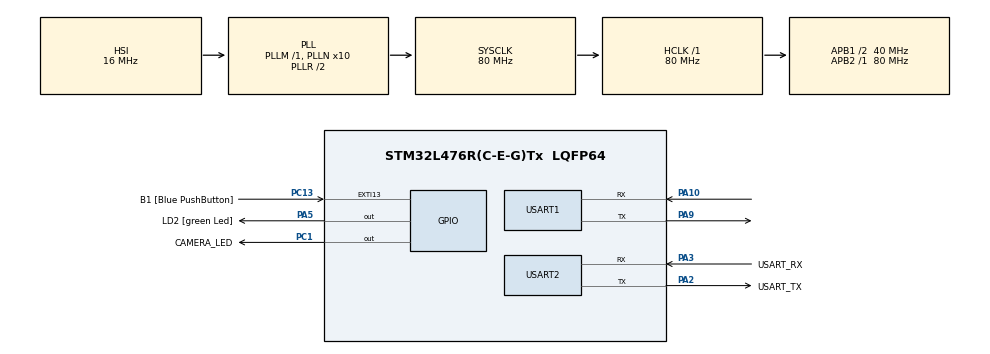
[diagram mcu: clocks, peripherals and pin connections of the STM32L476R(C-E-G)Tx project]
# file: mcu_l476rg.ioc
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Dma.Request0=USART1_RX
Dma.Request1=USART1_TX
Dma.Request2=USART2_RX
Dma.Request3=USART2_TX
Dma.USART1_RX.0.Direction=DMA_PERIPH_TO_MEMORY
Dma.USART1_RX.0.Instance=DMA2_Channel7
Dma.USART1_RX.0.MemDataAlignment=DMA_MDATAALIGN_BYTE
Dma.USART1_RX.0.MemInc=DMA_MINC_ENABLE
Dma.USART1_RX.0.Mode=DMA_NORMAL
Dma.USART1_RX.0.PeriphDataAlignment=DMA_PDATAALIGN_BYTE
Dma.USART1_RX.0.PeriphInc=DMA_PINC_DISABLE
Dma.USART1_RX.0.Priority=DMA_PRIORITY_LOW
Dma.USART1_TX.1.Direction=DMA_MEMORY_TO_PERIPH
Dma.USART1_TX.1.Instance=DMA2_Channel6
Dma.USART1_TX.1.MemDataAlignment=DMA_MDATAALIGN_BYTE
Dma.USART1_TX.1.MemInc=DMA_MINC_ENABLE
Dma.USART1_TX.1.Mode=DMA_NORMAL
Dma.USART1_TX.1.PeriphDataAlignment=DMA_PDATAALIGN_BYTE
Dma.USART1_TX.1.PeriphInc=DMA_PINC_DISABLE
Dma.USART1_TX.1.Priority=DMA_PRIORITY_LOW
Dma.USART2_RX.2.Direction=DMA_PERIPH_TO_MEMORY
Dma.USART2_RX.2.Instance=DMA1_Channel6
Dma.USART2_RX.2.MemDataAlignment=DMA_MDATAALIGN_BYTE
Dma.USART2_RX.2.MemInc=DMA_MINC_ENABLE
Dma.USART2_RX.2.Mode=DMA_CIRCULAR
Dma.USART2_RX.2.PeriphDataAlignment=DMA_PDATAALIGN_BYTE
Dma.USART2_RX.2.PeriphInc=DMA_PINC_DISABLE
Dma.USART2_RX.2.Priority=DMA_PRIORITY_LOW
Dma.USART2_TX.3.Direction=DMA_MEMORY_TO_PERIPH
Dma.USART2_TX.3.Instance=DMA1_Channel7
Dma.USART2_TX.3.MemDataAlignment=DMA_MDATAALIGN_BYTE
Dma.USART2_TX.3.MemInc=DMA_MINC_ENABLE
Dma.USART2_TX.3.Mode=DMA_NORMAL
Dma.USART2_TX.3.PeriphDataAlignment=DMA_PDATAALIGN_BYTE
Dma.USART2_TX.3.PeriphInc=DMA_PINC_DISABLE
Dma.USART2_TX.3.Priority=DMA_PRIORITY_LOW
FREERTOS.BinarySemaphores01=TxSem,Static,TxSemControlBlock;RxSem,Static,RxSemControlBlock
FREERTOS.INCLUDE_vTaskDelayUntil=1
FREERTOS.MEMORY_ALLOCATION=1
FREERTOS.Mutexes01=TableLock,Static,TableLockControlBlock
FREERTOS.Tasks01=Tx,2,128,StartTxTask,Default,NULL,Static,TxTaskBuffer,TxTaskControlBlock;Rx,3,128,StartRxTask,Default,NULL,Static,RxTaskBuffer,RxTaskControlBlock;Control,0,512,StartControlTask,Default,NULL,Static,ControlTaskBuffer,ControlTaskControlBlock
FREERTOS.Timers01=StatusLEDTmr,StatusLEDTmrCallback,osTimerPeriodic,Default,NULL,Static,StatusLEDTmrControlBlock;CameraLEDTmr,CameraLEDTmrCallback,osTimerOnce,Default,NULL,Static,CameraLEDTmrControlBlock
FREERTOS.configENABLE_FPU=1
FREERTOS.configTIMER_TASK_PRIORITY=5
FREERTOS.configUSE_TIMERS=1
Mcu.Family=STM32L4
Mcu.Name=STM32L476R(C-E-G)Tx
Mcu.Package=LQFP64
Mcu.UserConstants=TX_PERIOD_MS,10;CONTROL_CYCLE_MS,10
NVIC.DMA1_Channel6_IRQn=true\:5\:0\:false\:false\:true\:true\:false\:true
NVIC.DMA1_Channel7_IRQn=true\:5\:0\:false\:false\:true\:true\:false\:true
NVIC.DMA2_Channel6_IRQn=true\:0\:0\:false\:false\:true\:false\:false\:true
NVIC.DMA2_Channel7_IRQn=true\:0\:0\:false\:false\:true\:false\:false\:true
NVIC.EXTI15_10_IRQn=true\:5\:0\:false\:false\:true\:true\:true\:true
NVIC.PriorityGroup=NVIC_PRIORITYGROUP_4
NVIC.TIM1_UP_TIM16_IRQn=true\:0\:0\:false\:false\:true\:false\:false\:true
NVIC.TimeBase=TIM1_UP_TIM16_IRQn
NVIC.TimeBaseIP=TIM1
NVIC.USART1_IRQn=true\:5\:0\:false\:false\:true\:true\:true\:true
NVIC.USART2_IRQn=true\:5\:0\:false\:false\:true\:true\:true\:true
NVIC.WWDG_IRQn=true\:5\:0\:false\:false\:true\:true\:true\:true
PA10.Mode=Asynchronous
PA10.Signal=USART1_RX
PA13\ (JTMS-SWDIO).GPIO_Label=TMS
PA13\ (JTMS-SWDIO).Mode=Serial_Wire
PA13\ (JTMS-SWDIO).Signal=SYS_JTMS-SWDIO
PA14\ (JTCK-SWCLK).GPIO_Label=TCK
PA14\ (JTCK-SWCLK).Mode=Serial_Wire
PA14\ (JTCK-SWCLK).Signal=SYS_JTCK-SWCLK
PA2.GPIO_Label=USART_TX
PA2.GPIO_Mode=GPIO_MODE_AF_PP
PA2.GPIO_PuPd=GPIO_NOPULL
PA2.GPIO_Speed=GPIO_SPEED_FREQ_VERY_HIGH
PA2.Mode=Asynchronous
PA2.Signal=USART2_TX
PA3.GPIO_Label=USART_RX
PA3.GPIO_Mode=GPIO_MODE_AF_PP
PA3.GPIO_PuPd=GPIO_NOPULL
PA3.GPIO_Speed=GPIO_SPEED_FREQ_VERY_HIGH
PA3.Mode=Asynchronous
PA3.Signal=USART2_RX
PA5.GPIO_Label=LD2 [green Led]
PA5.GPIO_ModeDefaultOutputPP=GPIO_MODE_OUTPUT_PP
PA5.GPIO_PuPd=GPIO_NOPULL
PA5.GPIO_Speed=GPIO_SPEED_FREQ_LOW
PA5.Signal=GPIO_Output
PA9.Mode=Asynchronous
PA9.Signal=USART1_TX
PB3\ (JTDO-TRACESWO).GPIO_Label=SWO
PB3\ (JTDO-TRACESWO).Signal=SYS_JTDO-SWO
PC1.GPIO_Label=CAMERA_LED
PC1.Signal=GPIO_Output
PC13.GPIO_Label=B1 [Blue PushButton]
PC13.GPIO_ModeDefaultEXTI=GPIO_MODE_IT_FALLING
PC13.GPIO_PuPd=GPIO_NOPULL
PC13.Signal=GPXTI13
PC14-OSC32_IN\ (PC14).Mode=LSE-External-Oscillator
PC14-OSC32_IN\ (PC14).Signal=RCC_OSC32_IN
PC15-OSC32_OUT\ (PC15).Mode=LSE-External-Oscillator
PC15-OSC32_OUT\ (PC15).Signal=RCC_OSC32_OUT
PH0-OSC_IN\ (PH0).Mode=HSE-External-Oscillator
PH0-OSC_IN\ (PH0).Signal=RCC_OSC_IN
PH1-OSC_OUT\ (PH1).Mode=HSE-External-Oscillator
PH1-OSC_OUT\ (PH1).Signal=RCC_OSC_OUT
ProjectManager.HeapSize=0x200
ProjectManager.StackSize=0x400
ProjectManager.TargetToolchain=SW4STM32
RCC.ADCFreq_Value=64000000
RCC.AHBFreq_Value=80000000
RCC.APB1CLKDivider=RCC_HCLK_DIV2
RCC.APB1Freq_Value=40000000
RCC.APB1TimFreq_Value=80000000
RCC.APB2Freq_Value=80000000
RCC.APB2TimFreq_Value=80000000
RCC.CortexFreq_Value=80000000
RCC.HCLKFreq_Value=80000000
RCC.HSE_VALUE=8000000
RCC.HSI_VALUE=16000000
RCC.MSI_VALUE=4000000
RCC.PLLN=10
RCC.PLLSourceVirtual=RCC_PLLSOURCE_HSI
RCC.PREFETCH_ENABLE=1
RCC.SYSCLKFreq_VALUE=80000000
RCC.SYSCLKSource=RCC_SYSCLKSOURCE_PLLCLK
RCC.USBFreq_Value=64000000
RCC.VCOOutputFreq_Value=160000000
USART1.VirtualMode-Asynchronous=VM_ASYNC
USART2.VirtualMode-Asynchronous=VM_ASYNC
VP_FREERTOS_VS_CMSIS_V1.Mode=CMSIS_V1
VP_SYS_VS_tim1.Mode=TIM1
VP_WWDG_VS_WWDG.Mode=WWDG_Activate
WWDG.Counter=96
WWDG.EWIMode=WWDG_EWI_DISABLE
WWDG.Prescaler=WWDG_PRESCALER_4
WWDG.Window=96
board=NUCLEO-L476RG

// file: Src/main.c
/* USER CODE BEGIN Header */
/**
  ******************************************************************************
  * @file           : main.c
  * @brief          : Main program body
  ******************************************************************************
  * @attention
  *
  * <h2><center>&copy; Copyright (c) 2022 STMicroelectronics.
  * All rights reserved.</center></h2>
  *
  * This software component is licensed by ST under Ultimate Liberty license
  * SLA0044, the "License"; You may not use this file except in compliance with
  * the License. You may obtain a copy of the License at:
  *                             www.st.com/SLA0044
  *
  ******************************************************************************
  */
/* USER CODE END Header */

#include "main.h"
#include "cmsis_os.h"
#include "dma.h"
#include "usart.h"
#include "wwdg.h"
#include "gpio.h"

void SystemClock_Config(void);
void MX_FREERTOS_Init(void);

int main(void)
{

  /* MCU Configuration--------------------------------------------------------*/

  /* Reset of all peripherals, Initializes the Flash interface and the Systick. */
  HAL_Init();

  /* Configure the system clock */
  SystemClock_Config();

  /* Initialize all configured peripherals */
  MX_GPIO_Init();
  MX_DMA_Init();
  MX_USART1_UART_Init();
  MX_USART2_UART_Init();

  /* Call init function for freertos objects (in freertos.c) */
  MX_FREERTOS_Init();

  /* Start scheduler */
  osKernelStart();

  /* We should never get here as control is now taken by the scheduler */

  /* Infinite loop */
  while (1)
  {

  }
}

void SystemClock_Config(void)
{
  RCC_OscInitTypeDef RCC_OscInitStruct = {0};
  RCC_ClkInitTypeDef RCC_ClkInitStruct = {0};
  RCC_PeriphCLKInitTypeDef PeriphClkInit = {0};

  /** Initializes the CPU, AHB and APB busses clocks
  */
  RCC_OscInitStruct.OscillatorType = RCC_OSCILLATORTYPE_HSI;
  RCC_OscInitStruct.HSIState = RCC_HSI_ON;
  RCC_OscInitStruct.HSICalibrationValue = RCC_HSICALIBRATION_DEFAULT;
  RCC_OscInitStruct.PLL.PLLState = RCC_PLL_ON;
  RCC_OscInitStruct.PLL.PLLSource = RCC_PLLSOURCE_HSI;
  RCC_OscInitStruct.PLL.PLLM = 1;
  RCC_OscInitStruct.PLL.PLLN = 10;
  RCC_OscInitStruct.PLL.PLLP = RCC_PLLP_DIV7;
  RCC_OscInitStruct.PLL.PLLQ = RCC_PLLQ_DIV2;
  RCC_OscInitStruct.PLL.PLLR = RCC_PLLR_DIV2;
  if (HAL_RCC_OscConfig(&RCC_OscInitStruct) != HAL_OK)
  {
    Error_Handler();
  }
  /** Initializes the CPU, AHB and APB busses clocks
  */
  RCC_ClkInitStruct.ClockType = RCC_CLOCKTYPE_HCLK|RCC_CLOCKTYPE_SYSCLK
                              |RCC_CLOCKTYPE_PCLK1|RCC_CLOCKTYPE_PCLK2;
  RCC_ClkInitStruct.SYSCLKSource = RCC_SYSCLKSOURCE_PLLCLK;
  RCC_ClkInitStruct.AHBCLKDivider = RCC_SYSCLK_DIV1;
  RCC_ClkInitStruct.APB1CLKDivider = RCC_HCLK_DIV2;
  RCC_ClkInitStruct.APB2CLKDivider = RCC_HCLK_DIV1;

  if (HAL_RCC_ClockConfig(&RCC_ClkInitStruct, FLASH_LATENCY_4) != HAL_OK)
  {
    Error_Handler();
  }
  PeriphClkInit.PeriphClockSelection = RCC_PERIPHCLK_USART1|RCC_PERIPHCLK_USART2;
  PeriphClkInit.Usart1ClockSelection = RCC_USART1CLKSOURCE_PCLK2;
  PeriphClkInit.Usart2ClockSelection = RCC_USART2CLKSOURCE_PCLK1;
  if (HAL_RCCEx_PeriphCLKConfig(&PeriphClkInit) != HAL_OK)
  {
    Error_Handler();
  }
  /** Configure the main internal regulator output voltage
  */
  if (HAL_PWREx_ControlVoltageScaling(PWR_REGULATOR_VOLTAGE_SCALE1) != HAL_OK)
  {
    Error_Handler();
  }
}

void HAL_TIM_PeriodElapsedCallback(TIM_HandleTypeDef *htim)
{
  if (htim->Instance == TIM1) {
    HAL_IncTick();
  }
}

void Error_Handler(void)
{
}

/************************ (C) COPYRIGHT STMicroelectronics *****END OF FILE****/

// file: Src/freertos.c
/* USER CODE BEGIN Header */
/**
  ******************************************************************************
  * File Name          : freertos.c
  * Description        : Code for freertos applications
  ******************************************************************************
  * @attention
  *
  * <h2><center>&copy; Copyright (c) 2022 STMicroelectronics.
  * All rights reserved.</center></h2>
  *
  * This software component is licensed by ST under Ultimate Liberty license
  * SLA0044, the "License"; You may not use this file except in compliance with
  * the License. You may obtain a copy of the License at:
  *                             www.st.com/SLA0044
  *
  ******************************************************************************
  */
/* USER CODE END Header */

#include "FreeRTOS.h"
#include "task.h"
#include "main.h"
#include "cmsis_os.h"

/* USER CODE BEGIN Includes */
#include <stdbool.h>
#include <string.h>
#include "usart.h"
#include "wwdg.h"
#include "App/util.h"
#include "App/table.h"
#include "App/rx.h"
#include "App/Notification.h"
#include "LSS/lss.h"
/* USER CODE END Includes */

/* USER CODE BEGIN PM */
#define BUF_SIZE     (2 + TABLE_IDX_MAX_SENSOR_DATA + 2)
#define BUF_HEADER_1 0
#define BUF_HEADER_2 1
#define BUF_IMU      2
#define BUF_LAMP_IMU (2 + sizeof(imu_data_t))
#define BUF_BASE_IMU 2
#define BUF_STATUS   (BUF_SIZE - 2)
#define BUF_FOOTER   (BUF_SIZE - 1)

#define PC_UART huart2
/* USER CODE END PM */

/* USER CODE BEGIN Variables */
static bool scheduler_has_started = false;
/* USER CODE END Variables */
osThreadId TxHandle;
uint32_t TxTaskBuffer[ 128 ];
osStaticThreadDef_t TxTaskControlBlock;
osThreadId RxHandle;
uint32_t RxTaskBuffer[ 128 ];
osStaticThreadDef_t RxTaskControlBlock;
osThreadId ControlHandle;
uint32_t ControlTaskBuffer[ 512 ];
osStaticThreadDef_t ControlTaskControlBlock;
osTimerId StatusLEDTmrHandle;
osStaticTimerDef_t StatusLEDTmrControlBlock;
osTimerId CameraLEDTmrHandle;
osStaticTimerDef_t CameraLEDTmrControlBlock;
osMutexId TableLockHandle;
osStaticMutexDef_t TableLockControlBlock;
osSemaphoreId TxSemHandle;
osStaticSemaphoreDef_t TxSemControlBlock;
osSemaphoreId RxSemHandle;
osStaticSemaphoreDef_t RxSemControlBlock;

/* USER CODE BEGIN FunctionPrototypes */
/**
 * @brief Toggles the green LED, LD2
 * @note  Useful for debugging
 */
inline void toggle_status_led(){
    HAL_GPIO_TogglePin(LD2_GPIO_Port, LD2_Pin);
}

/** @brief The states the camera synchronization LED can be in */
typedef enum{
    CAMERA_LED_OFF = GPIO_PIN_RESET, /**< LED is off */
    CAMERA_LED_ON = GPIO_PIN_SET     /**< LED is on  */
}CameraState_t;

/** @brief Turns the camera synchronization LED on or off */
inline void set_camera_led_state(CameraState_t state){
    HAL_GPIO_WritePin(CAMERA_LED_GPIO_Port, CAMERA_LED_Pin, state);
}

/** @brief Reads the camera LED pin to see whether it's on or off */
inline GPIO_PinState get_camera_led_state(){
    return HAL_GPIO_ReadPin(CAMERA_LED_GPIO_Port, CAMERA_LED_Pin);
}

inline void blink_camera_led()
{
    // Turn on camera synchronization LED for 100 ms (about 3 frames...?)
    set_camera_led_state(CAMERA_LED_ON);
    osTimerStart(CameraLEDTmrHandle, 100);
}

#define NOTIFY_CLEAR 0
#define NOTIFY_THREAD_DI 1
/** @brief Enables the control (servos) thread */
void enable_control()
{
    xTaskNotify((TaskHandle_t)ControlHandle, NOTIFY_CLEAR, eSetValueWithOverwrite);
}

/** @brief Disables the control (servos) thread */
void disable_control()
{
    xTaskNotify((TaskHandle_t)ControlHandle, NOTIFY_THREAD_DI, eSetBits);
}

/** @brief Returns true if the current thread is enabled, otherwise false */
bool thread_is_enabled(){
    uint32_t ulNotifiedValue;
    // Don't clear bits and don't block
    xTaskNotifyWait(0, 0, &ulNotifiedValue, 0);
    return (ulNotifiedValue & NOTIFY_THREAD_DI) != NOTIFY_THREAD_DI;
}
/* USER CODE END FunctionPrototypes */

void StartTxTask(void const * argument);
void StartRxTask(void const * argument);
void StartControlTask(void const * argument);
void StatusLEDTmrCallback(void const * argument);
void CameraLEDTmrCallback(void const * argument);

void MX_FREERTOS_Init(void); /* (MISRA C 2004 rule 8.1) */

/* GetIdleTaskMemory prototype (linked to static allocation support) */
void vApplicationGetIdleTaskMemory( StaticTask_t **ppxIdleTaskTCBBuffer, StackType_t **ppxIdleTaskStackBuffer, uint32_t *pulIdleTaskStackSize );

/* GetTimerTaskMemory prototype (linked to static allocation support) */
void vApplicationGetTimerTaskMemory( StaticTask_t **ppxTimerTaskTCBBuffer, StackType_t **ppxTimerTaskStackBuffer, uint32_t *pulTimerTaskStackSize );

/* USER CODE BEGIN GET_IDLE_TASK_MEMORY */
static StaticTask_t xIdleTaskTCBBuffer;
static StackType_t xIdleStack[configMINIMAL_STACK_SIZE];

void vApplicationGetIdleTaskMemory( StaticTask_t **ppxIdleTaskTCBBuffer, StackType_t **ppxIdleTaskStackBuffer, uint32_t *pulIdleTaskStackSize )
{
    *ppxIdleTaskTCBBuffer = &xIdleTaskTCBBuffer;
    *ppxIdleTaskStackBuffer = &xIdleStack[0];
    *pulIdleTaskStackSize = configMINIMAL_STACK_SIZE;
    /* place for user code */
}
/* USER CODE END GET_IDLE_TASK_MEMORY */

/* USER CODE BEGIN GET_TIMER_TASK_MEMORY */
static StaticTask_t xTimerTaskTCBBuffer;
static StackType_t xTimerStack[configTIMER_TASK_STACK_DEPTH];

void vApplicationGetTimerTaskMemory( StaticTask_t **ppxTimerTaskTCBBuffer, StackType_t **ppxTimerTaskStackBuffer, uint32_t *pulTimerTaskStackSize )
{
    *ppxTimerTaskTCBBuffer = &xTimerTaskTCBBuffer;
    *ppxTimerTaskStackBuffer = &xTimerStack[0];
    *pulTimerTaskStackSize = configTIMER_TASK_STACK_DEPTH;
    /* place for user code */
}
/* USER CODE END GET_TIMER_TASK_MEMORY */

void MX_FREERTOS_Init(void) {
  /* Create the mutex(es) */
  /* definition and creation of TableLock */
  osMutexStaticDef(TableLock, &TableLockControlBlock);
  TableLockHandle = osMutexCreate(osMutex(TableLock));

  /* Create the semaphores(s) */
  /* definition and creation of TxSem */
  osSemaphoreStaticDef(TxSem, &TxSemControlBlock);
  TxSemHandle = osSemaphoreCreate(osSemaphore(TxSem), 1);

  /* definition and creation of RxSem */
  osSemaphoreStaticDef(RxSem, &RxSemControlBlock);
  RxSemHandle = osSemaphoreCreate(osSemaphore(RxSem), 1);

  /* Create the timer(s) */
  /* definition and creation of StatusLEDTmr */
  osTimerStaticDef(StatusLEDTmr, StatusLEDTmrCallback, &StatusLEDTmrControlBlock);
  StatusLEDTmrHandle = osTimerCreate(osTimer(StatusLEDTmr), osTimerPeriodic, NULL);

  /* definition and creation of CameraLEDTmr */
  osTimerStaticDef(CameraLEDTmr, CameraLEDTmrCallback, &CameraLEDTmrControlBlock);
  CameraLEDTmrHandle = osTimerCreate(osTimer(CameraLEDTmr), osTimerOnce, NULL);

  /* USER CODE BEGIN RTOS_TIMERS */
    /* start timers, add new ones, ... */
    // Make status LED blink at 0.5 Hz
    osTimerStart(StatusLEDTmrHandle, 1000);
  /* USER CODE END RTOS_TIMERS */

  /* Create the thread(s) */
  /* definition and creation of Tx */
  osThreadStaticDef(Tx, StartTxTask, osPriorityHigh, 0, 128, TxTaskBuffer, &TxTaskControlBlock);
  TxHandle = osThreadCreate(osThread(Tx), NULL);

  /* definition and creation of Rx */
  osThreadStaticDef(Rx, StartRxTask, osPriorityRealtime, 0, 128, RxTaskBuffer, &RxTaskControlBlock);
  RxHandle = osThreadCreate(osThread(Rx), NULL);

  /* definition and creation of Control */
  osThreadStaticDef(Control, StartControlTask, osPriorityNormal, 0, 512, ControlTaskBuffer, &ControlTaskControlBlock);
  ControlHandle = osThreadCreate(osThread(Control), NULL);

}

void StartTxTask(void const * argument)
{
  /* USER CODE BEGIN StartTxTask */
    // For packet timing management
    static const uint32_t TX_CYCLE_TIME = osKernelSysTickMicroSec(TX_PERIOD_MS * 1000);

    uint8_t status;
    uint8_t buf[BUF_SIZE] = {0};
    buf[BUF_HEADER_1] = 0xAA; // 0b10101010
    buf[BUF_HEADER_2] = 0xAA;
    buf[BUF_FOOTER] = '\n'; // Termination character

    TickType_t xLastWakeTime = xTaskGetTickCount();
    for (;;)
    {
        osDelayUntil(&xLastWakeTime, TX_CYCLE_TIME);
        HAL_WWDG_Refresh(&hwwdg);

        // Pack data
        read_table(TABLE_IDX_BASE_DATA, (uint8_t*)&buf[BUF_BASE_IMU], sizeof(imu_data_t));
        read_table(TABLE_IDX_LAMP_DATA, (uint8_t*)&buf[BUF_LAMP_IMU], sizeof(imu_data_t));

        // Add camera synch flag if needed
        status = 0;
        status |= get_camera_led_state();
        buf[BUF_STATUS] = status;

        // Send
        if (HAL_UART_Transmit_DMA(&PC_UART, buf, sizeof(buf)) != HAL_OK)
        {
            HAL_UART_AbortTransmit_IT(&PC_UART);
        }
        else
        {
            // BUF_SIZE = 52 bytes = 52*8 = 416 bits
            // 115200 symbols/sec => 115200*8/10 = 92160 bps
            // 416 bits / 92160 bps = 4.55 ms
            xSemaphoreTake(TxSemHandle, pdMS_TO_TICKS(5));
        }
    }
  /* USER CODE END StartTxTask */
}

void StartRxTask(void const * argument)
{
  /* USER CODE BEGIN StartRxTask */
    scheduler_has_started = true;
    static const uint32_t RX_CYCLE_TIME = osKernelSysTickMicroSec(1000);
    TickType_t xLastWakeTime = xTaskGetTickCount();

    static uint8_t rx_buff[32] = {0}; // static => no stack usage
    static uint8_t cmd_buff[16] = {0};
    CircBuff_t circ_buff = {sizeof(rx_buff), 0, 0, rx_buff};
    uint8_t cnt = 0; // number of bytes received so far
    uint8_t num_needed = 0; // length of command packet currently being recv

    enum {
        CMD_NONE,
        CMD_BLINK = 'L',
        CMD_CTRL_DI = '0',
        CMD_CTRL_EN = '1',
        CMD_SENS_DI = '2',
        CMD_SENS_EN = '3',
        CMD_ZERO_REF = 'Z',
        CMD_ZERO_REF_OUTER = 'O',
        CMD_ZERO_REF_INNER = 'I',
        CMD_RESET = 'R',
        CMD_ANGLE = 'A',
        CMD_ANGLE_OUTER = '8', // Exact value doesn't matter, just has to be
        CMD_ANGLE_INNER = '9', // unique (these are used as parse states only)
        CMD_CHECKSUM = 'C'     // same
    };

    MX_WWDG_Init();
    enable_control();
    HAL_UART_Receive_DMA(&PC_UART, rx_buff, sizeof(rx_buff));
    for(;;)
    {
        osDelayUntil(&xLastWakeTime, RX_CYCLE_TIME);
        circ_buff.iHead = circ_buff.size - PC_UART.hdmarx->Instance->CNDTR;
        while(circ_buff.iHead != circ_buff.iTail)
        {
            uint8_t data = pop(&circ_buff);
            if (num_needed == 0)
            {
                // If we are not in the middle of receiving a command packet...
                // then enter the state where we are waiting for the full thing
                // to arrive
                if ((char)data == (char)CMD_BLINK)
                {
                    num_needed = 2;
                }
                else if ((char)data == (char)CMD_RESET)
                {
                    num_needed = 2;
                }
                else if ((char)data == (char)CMD_ANGLE)
                {
                    num_needed = 1 + sizeof(float) * 2 + 1;
                }
                else if ((char)data == (char)CMD_ZERO_REF)
                {
                    num_needed = 1 + sizeof(float) * 2 + 1;
                }
                else if ((char)data == (char)CMD_CTRL_DI)
                {
                    num_needed = 2;
                }
                else if ((char)data == (char)CMD_CTRL_EN)
                {
                    num_needed = 2;
                }
                else if ((char)data == (char)CMD_SENS_DI)
                {
                    num_needed = 2;
                }
                else if ((char)data == (char)CMD_SENS_EN)
                {
                    num_needed = 2;
                }
            }

            if (num_needed != 0)
            {
                // If we are in the process of receiving a command packet...
                cmd_buff[cnt] = data;
                ++cnt;
            }

            if (num_needed != 0 && cnt == num_needed)
            {
                // Verify integrity
                uint8_t check = rs232_checksum(cmd_buff, num_needed);
                if (check == 0)
                {
                    // Perform requested command function
                    uint8_t cmd = cmd_buff[0];
                    switch(cmd)
                    {
                        case CMD_BLINK:
                            blink_camera_led();
                            break;
                        case CMD_RESET:
                            taskENTER_CRITICAL();
                            NVIC_SystemReset();
                            break;
                        case CMD_CTRL_DI:
                            disable_control();
                            break;
                        case CMD_CTRL_EN:
                            enable_control();
                            break;
                        case CMD_SENS_DI:
//                            disable_sensing();
                            break;
                        case CMD_SENS_EN:
//                            enable_sensing();
                            break;
                        case CMD_ANGLE:
                            // Outer
                            write_table(
                                TABLE_IDX_OUTER_GIMBAL_ANGLE,
                                &cmd_buff[1],
                                sizeof(float)
                            );

                            // Inner
                            write_table(
                                TABLE_IDX_INNER_GIMBAL_ANGLE,
                                &cmd_buff[1 + sizeof(float)],
                                sizeof(float)
                            );
                            break;
                        case CMD_ZERO_REF:
                            // Outer
                            write_table(
                                TABLE_IDX_ZERO_REF_OUTER_GIMBAL,
                                &cmd_buff[1],
                                sizeof(float)
                            );

                            // Inner
                            write_table(
                                TABLE_IDX_ZERO_REF_INNER_GIMBAL,
                                &cmd_buff[1 + sizeof(float)],
                                sizeof(float)
                            );
                            break;
                        default:
                            break;
                    }
                }
                num_needed = 0;
                cnt = 0;
            }
        }
        if (PC_UART.RxState == HAL_UART_STATE_ERROR || PC_UART.ErrorCode != HAL_UART_ERROR_NONE)
        {
            HAL_UART_AbortReceive(&PC_UART);
            HAL_UART_Receive_DMA(&PC_UART, rx_buff, sizeof(rx_buff));
        }
        // TODO: add timeout...?
    }
  /* USER CODE END StartRxTask */
}

void StartControlTask(void const * argument)
{
  /* USER CODE BEGIN StartControlTask */
    while (!thread_is_enabled())
    {
        continue;
    }

    static const uint32_t CONTROL_CYCLE_TIME = osKernelSysTickMicroSec(CONTROL_CYCLE_MS * 1000);
    static const float MIN_GIMBAL_ANGLE = -40.0;
    static const float MAX_GIMBAL_ANGLE = 40.0;
    float a_outer, a_inner, zero_ref_outer, zero_ref_inner;

    lss_set_io_type(IO_DMA);

    const int8_t ANGULAR_STIFFNESS = -4;
    const int8_t HOLDING_STIFFNESS = -4;
    const uint8_t OUTER_ID = 0;
    const float OUTER_OFFSET = -102;
    const uint16_t AA = 1000;
    const uint16_t AD = 1000;
    lss_t servo_outer = {OUTER_ID, &huart1, OUTER_OFFSET};
    lss_set_led(&servo_outer, LSS_OFF);
    lss_toggle_motion_ctrl(&servo_outer, LSS_EM0);
    lss_set_speed(&servo_outer, 180.0);
    lss_set_aa(&servo_outer, AA);
    lss_set_ad(&servo_outer, AD);
    lss_set_as(&servo_outer, ANGULAR_STIFFNESS);
    lss_set_hs(&servo_outer, HOLDING_STIFFNESS);

    const uint8_t INNER_ID = 1;
    const float INNER_OFFSET = 49;
    lss_t servo_inner = {INNER_ID, &huart1, INNER_OFFSET};
    lss_set_led(&servo_inner, LSS_OFF);
    lss_toggle_motion_ctrl(&servo_inner, LSS_EM0);
    lss_set_speed(&servo_inner, 180.0);
    lss_set_aa(&servo_inner, AA);
    lss_set_ad(&servo_inner, AD);
    lss_set_as(&servo_inner, ANGULAR_STIFFNESS);
    lss_set_hs(&servo_inner, HOLDING_STIFFNESS);

    TickType_t xLastWakeTime = xTaskGetTickCount();
    for(;;)
    {
        osDelayUntil(&xLastWakeTime, CONTROL_CYCLE_TIME);
        if (!thread_is_enabled())
        {
            continue;
        }

        read_table(TABLE_IDX_OUTER_GIMBAL_ANGLE, (uint8_t*)&a_outer, sizeof(float));
        read_table(TABLE_IDX_INNER_GIMBAL_ANGLE, (uint8_t*)&a_inner, sizeof(float));

        // Make sure we don't move the servos to angles outside these bounds
        a_outer = bound_float(a_outer, MIN_GIMBAL_ANGLE, MAX_GIMBAL_ANGLE);
        a_inner = bound_float(a_inner, MIN_GIMBAL_ANGLE, MAX_GIMBAL_ANGLE);

        // Translate origin to our reference point
        read_table(TABLE_IDX_ZERO_REF_OUTER_GIMBAL, (uint8_t*)&zero_ref_outer, sizeof(float));
        read_table(TABLE_IDX_ZERO_REF_INNER_GIMBAL, (uint8_t*)&zero_ref_inner, sizeof(float));
        a_outer += zero_ref_outer;
        a_inner += zero_ref_inner;

        // Update motor angles
        lss_set_position(&servo_outer, a_outer);
        lss_set_position(&servo_inner, a_inner);
    }
  /* USER CODE END StartControlTask */
}

/* StatusLEDTmrCallback function */
void StatusLEDTmrCallback(void const * argument)
{
  /* USER CODE BEGIN StatusLEDTmrCallback */
    toggle_status_led();
  /* USER CODE END StatusLEDTmrCallback */
}

/* CameraLEDTmrCallback function */
void CameraLEDTmrCallback(void const * argument)
{
  /* USER CODE BEGIN CameraLEDTmrCallback */
    set_camera_led_state(CAMERA_LED_OFF);
  /* USER CODE END CameraLEDTmrCallback */
}

/* USER CODE BEGIN Application */
void HAL_GPIO_EXTI_Callback(uint16_t GPIO_Pin)
{
    if (scheduler_has_started)
    {
        if (GPIO_Pin == B1_Pin)
        {
            // Blue button on Nucleo was pushed
            blink_camera_led();
        }
    }
}

void HAL_UART_TxCpltCallback(UART_HandleTypeDef *huart){
    if (scheduler_has_started)
    {
        BaseType_t xHigherPriorityTaskWoken = pdFALSE;
        if (huart->Instance == PC_UART.Instance && TxSemHandle != NULL){
            xSemaphoreGiveFromISR(TxSemHandle, &xHigherPriorityTaskWoken);
        }
        else if(huart->Instance == USART1){
            xTaskNotifyFromISR(ControlHandle, NOTIFIED_FROM_TX_ISR, eSetBits, &xHigherPriorityTaskWoken);
        }
        portYIELD_FROM_ISR(xHigherPriorityTaskWoken);
    }
}

void HAL_UART_RxCpltCallback(UART_HandleTypeDef *huart){
    if (scheduler_has_started)
    {
        BaseType_t xHigherPriorityTaskWoken = pdFALSE;
        if (huart->Instance == PC_UART.Instance && RxSemHandle != NULL){
            xSemaphoreGiveFromISR(RxSemHandle, &xHigherPriorityTaskWoken);
        }
        portYIELD_FROM_ISR(xHigherPriorityTaskWoken);
    }
}
/* USER CODE END Application */

/************************ (C) COPYRIGHT STMicroelectronics *****END OF FILE****/
